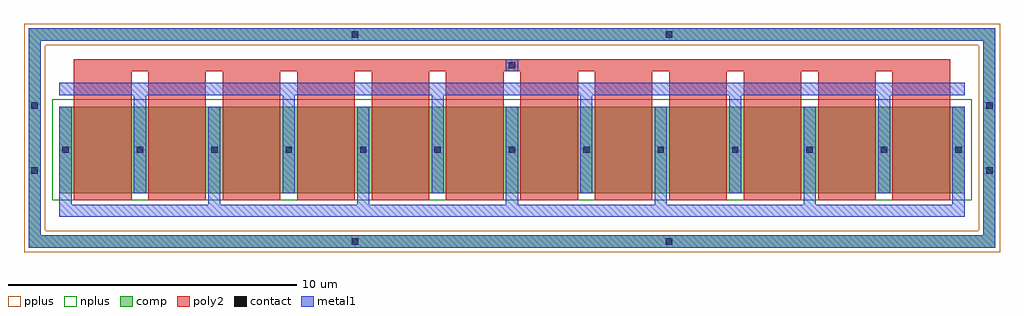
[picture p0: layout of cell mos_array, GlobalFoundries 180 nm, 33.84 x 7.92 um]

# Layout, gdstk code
import gdstk
lib = gdstk.Library(unit=1e-6, precision=5e-10)
def R(c, l, rs):  # rectangles x0, y0, x1, y1
    for r in rs: c.add(gdstk.rectangle(r[:2], r[2:], *l))
def A(c, l, x, y, w, h, nx, ny, dx, dy):  # array of equal rectangles
    R(c, l, [(x+i*dx, y+j*dy, x+i*dx+w, y+j*dy+h) for i in range(nx) for j in range(ny)])
def P(c, l, *ps):  # polygons
    for p in ps: c.add(gdstk.Polygon(p, *l))
comp = (22, 0)
poly2 = (30, 0)
pplus = (31, 0)
nplus = (32, 0)
contact = (33, 0)
metal1 = (34, 0)

mos_array = lib.new_cell('mos_array')
R(mos_array, comp, [(0,0.82,31.38,3.82)])
P(mos_array, comp, [(-1.07,-1.07),(-1.07,6.11),(-0.65,6.11),(-0.65,-0.65),(32.03,-0.65),(32.03,6.11),(-1.07,6.11),(-1.07,6.53),(32.45,6.53),(32.45,-1.07)])
A(mos_array, poly2, 0.5, 0.57, 2, 4.47, 12, 1, 2.58, 0)
R(mos_array, poly2, [(0.5,5.04,30.88,5.46)])
P(mos_array, pplus, [(-1.23,-1.23),(-1.23,5.95),(-0.49,5.95),(-0.49,-0.49),(31.87,-0.49),(31.87,5.95),(-1.23,5.95),(-1.23,6.69),(32.61,6.69),(32.61,-1.23)])
R(mos_array, nplus, [(-0.25,0.57,31.63,4.07)])
A(mos_array, contact, 0.1, 2.21, 0.22, 0.22, 13, 1, 2.58, 0)
R(mos_array, contact, [(10.135,-0.97,10.355,-0.75), (21.025,-0.97,21.245,-0.75), (-0.97,1.495,-0.75,1.715), (32.13,1.495,32.35,1.715), (-0.97,3.745,-0.75,3.965), (32.13,3.745,32.35,3.965), (15.58,5.14,15.8,5.36), (10.135,6.21,10.355,6.43), (21.025,6.21,21.245,6.43)])
A(mos_array, metal1, 0, 0.42, 0.42, 0.4, 7, 1, 5.16, 0)
A(mos_array, metal1, 0, 0.82, 0.42, 3, 13, 1, 2.58, 0)
A(mos_array, metal1, 2.58, 3.82, 0.42, 0.4, 6, 1, 5.16, 0)
R(mos_array, metal1, [(0,0,31.38,0.42), (0,4.22,31.38,4.64), (15.48,5.04,15.9,5.46)])
P(mos_array, metal1, [(-1.07,-1.07),(-1.07,6.11),(-0.65,6.11),(-0.65,-0.65),(32.03,-0.65),(32.03,6.11),(-1.07,6.11),(-1.07,6.53),(32.45,6.53),(32.45,-1.07)])

lib.write_gds('mos_array.gds')
